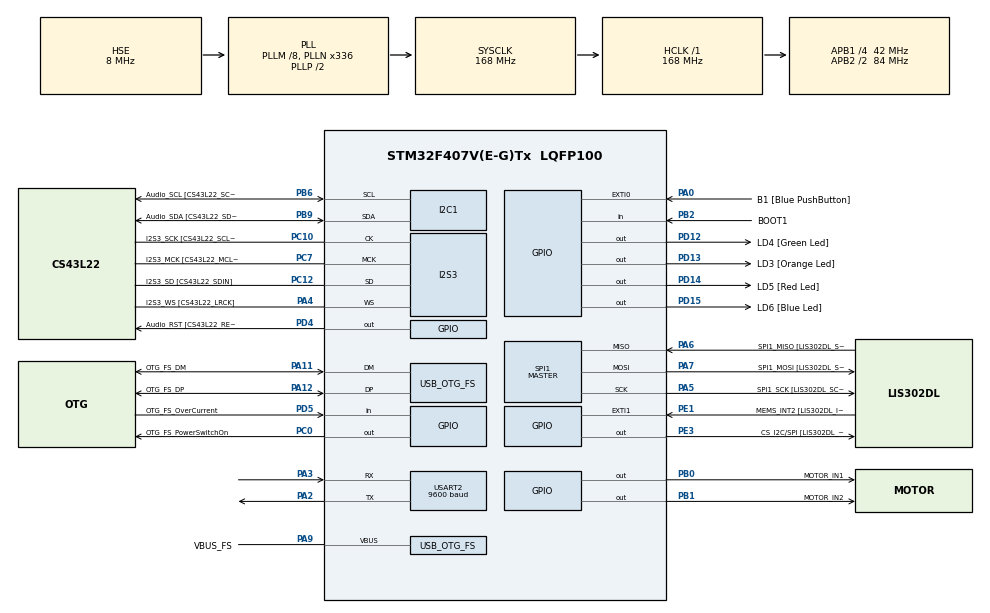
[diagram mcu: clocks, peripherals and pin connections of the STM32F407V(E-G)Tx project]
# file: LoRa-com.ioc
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I2S3.AudioFreq-Half_Duplex_Master=I2S_AUDIOFREQ_96K
I2S3.ErrorAudioFreq=-2.34 %
I2S3.ErrorAudioFreq-Half_Duplex_Master=0.8 %
I2S3.FullDuplexMode=I2S_FULLDUPLEXMODE_DISABLE
I2S3.Instance=SPI$Index
I2S3.RealAudioFreq=93.75 KHz
I2S3.RealAudioFreq-Half_Duplex_Master=96.774 KHz
I2S3.VirtualMode=I2S_MODE_MASTER
Mcu.Family=STM32F4
Mcu.Name=STM32F407V(E-G)Tx
Mcu.Package=LQFP100
NVIC.OTG_FS_IRQn=true\:0\:0\:false\:false\:true\:true\:true\:true
NVIC.PriorityGroup=NVIC_PRIORITYGROUP_0
NVIC.USART2_IRQn=true\:0\:0\:false\:false\:true\:true\:true\:true
PA0-WKUP.GPIO_Label=B1 [Blue PushButton]
PA0-WKUP.GPIO_ModeDefaultEXTI=GPIO_MODE_EVT_RISING
PA0-WKUP.GPIO_PuPd=GPIO_NOPULL
PA0-WKUP.Signal=GPXTI0
PA10.GPIO_Label=OTG_FS_ID
PA10.GPIO_Mode=GPIO_MODE_AF_PP
PA10.GPIO_PuPd=GPIO_NOPULL
PA10.GPIO_Speed=GPIO_SPEED_FREQ_LOW
PA10.Signal=USB_OTG_FS_ID
PA11.GPIO_Label=OTG_FS_DM
PA11.GPIO_Mode=GPIO_MODE_AF_PP
PA11.GPIO_PuPd=GPIO_NOPULL
PA11.GPIO_Speed=GPIO_SPEED_FREQ_LOW
PA11.Mode=Host_Only
PA11.Signal=USB_OTG_FS_DM
PA12.GPIO_Label=OTG_FS_DP
PA12.GPIO_Mode=GPIO_MODE_AF_PP
PA12.GPIO_PuPd=GPIO_NOPULL
PA12.GPIO_Speed=GPIO_SPEED_FREQ_LOW
PA12.Mode=Host_Only
PA12.Signal=USB_OTG_FS_DP
PA13.GPIO_Label=SWDIO
PA13.Mode=Serial_Wire
PA13.Signal=SYS_JTMS-SWDIO
PA14.GPIO_Label=SWCLK
PA14.Mode=Serial_Wire
PA14.Signal=SYS_JTCK-SWCLK
PA2.Mode=Asynchronous
PA2.Signal=USART2_TX
PA3.Mode=Asynchronous
PA3.Signal=USART2_RX
PA4.GPIO_Label=I2S3_WS [CS43L22_LRCK]
PA4.GPIO_Mode=GPIO_MODE_AF_PP
PA4.GPIO_PuPd=GPIO_NOPULL
PA4.GPIO_Speed=GPIO_SPEED_FREQ_LOW
PA4.Mode=Half_Duplex_Master
PA4.Signal=I2S3_WS
PA5.GPIO_Label=SPI1_SCK [LIS302DL_SCL/SPC]
PA5.GPIO_Mode=GPIO_MODE_AF_PP
PA5.GPIO_PuPd=GPIO_NOPULL
PA5.GPIO_Speed=GPIO_SPEED_FREQ_LOW
PA5.Mode=Full_Duplex_Master
PA5.Signal=SPI1_SCK
PA6.GPIO_Label=SPI1_MISO [LIS302DL_SDO]
PA6.GPIO_Mode=GPIO_MODE_AF_PP
PA6.GPIO_PuPd=GPIO_NOPULL
PA6.GPIO_Speed=GPIO_SPEED_FREQ_LOW
PA6.Mode=Full_Duplex_Master
PA6.Signal=SPI1_MISO
PA7.GPIO_Label=SPI1_MOSI [LIS302DL_SDA/SDI/SDO]
PA7.GPIO_Mode=GPIO_MODE_AF_PP
PA7.GPIO_PuPd=GPIO_NOPULL
PA7.GPIO_Speed=GPIO_SPEED_FREQ_LOW
PA7.Mode=Full_Duplex_Master
PA7.Signal=SPI1_MOSI
PA9.GPIO_Label=VBUS_FS
PA9.GPIO_Mode=GPIO_MODE_INPUT
PA9.GPIO_PuPd=GPIO_NOPULL
PA9.Mode=Activate_VBUS
PA9.Signal=USB_OTG_FS_VBUS
PB0.GPIO_Label=MOTOR_IN1
PB0.Signal=GPIO_Output
PB1.GPIO_Label=MOTOR_IN2
PB1.Signal=GPIO_Output
PB10.GPIO_Label=CLK_IN [MP45DT02_CLK]
PB10.GPIO_Mode=GPIO_MODE_AF_PP
PB10.GPIO_PuPd=GPIO_NOPULL
PB10.GPIO_Speed=GPIO_SPEED_FREQ_LOW
PB10.Signal=I2S2_CK
PB2.GPIO_Label=BOOT1
PB2.GPIO_Mode=GPIO_MODE_INPUT
PB2.GPIO_PuPd=GPIO_NOPULL
PB2.Signal=GPIO_Input
PB3.GPIO_Label=SWO
PB3.Signal=SYS_JTDO-SWO
PB6.GPIO_Label=Audio_SCL [CS43L22_SCL]
PB6.GPIO_Mode=GPIO_MODE_AF_OD
PB6.GPIO_Pu=GPIO_PULLUP
PB6.GPIO_PuPd=GPIO_NOPULL
PB6.GPIO_Speed=GPIO_SPEED_FREQ_LOW
PB6.Mode=I2C
PB6.Signal=I2C1_SCL
PB9.GPIO_Label=Audio_SDA [CS43L22_SDA]
PB9.GPIO_Mode=GPIO_MODE_AF_OD
PB9.GPIO_Pu=GPIO_PULLUP
PB9.GPIO_PuPd=GPIO_NOPULL
PB9.GPIO_Speed=GPIO_SPEED_FREQ_LOW
PB9.Mode=I2C
PB9.Signal=I2C1_SDA
PC0.GPIO_Label=OTG_FS_PowerSwitchOn
PC0.GPIO_PuPd=GPIO_NOPULL
PC0.GPIO_Speed=GPIO_SPEED_FREQ_LOW
PC0.PinState=GPIO_PIN_SET
PC0.Signal=GPIO_Output
PC10.GPIO_Label=I2S3_SCK [CS43L22_SCLK]
PC10.GPIO_Mode=GPIO_MODE_AF_PP
PC10.GPIO_PuPd=GPIO_NOPULL
PC10.GPIO_Speed=GPIO_SPEED_FREQ_LOW
PC10.Mode=Half_Duplex_Master
PC10.Signal=I2S3_CK
PC12.GPIO_Label=I2S3_SD [CS43L22_SDIN]
PC12.GPIO_Mode=GPIO_MODE_AF_PP
PC12.GPIO_PuPd=GPIO_NOPULL
PC12.GPIO_Speed=GPIO_SPEED_FREQ_LOW
PC12.Mode=Half_Duplex_Master
PC12.Signal=I2S3_SD
PC14-OSC32_IN.GPIO_Label=PC14-OSC32_IN
PC14-OSC32_IN.Mode=LSE-External-Oscillator
PC14-OSC32_IN.Signal=RCC_OSC32_IN
PC15-OSC32_OUT.GPIO_Label=PC15-OSC32_OUT
PC15-OSC32_OUT.Mode=LSE-External-Oscillator
PC15-OSC32_OUT.Signal=RCC_OSC32_OUT
PC3.GPIO_Label=PDM_OUT [MP45DT02_DOUT]
PC3.GPIO_Mode=GPIO_MODE_AF_PP
PC3.GPIO_PuPd=GPIO_NOPULL
PC3.GPIO_Speed=GPIO_SPEED_FREQ_LOW
PC3.Signal=I2S2_SD
PC7.GPIO_Label=I2S3_MCK [CS43L22_MCLK]
PC7.GPIO_Mode=GPIO_MODE_AF_PP
PC7.GPIO_PuPd=GPIO_NOPULL
PC7.GPIO_Speed=GPIO_SPEED_FREQ_LOW
PC7.Mode=Master_Clock_Activated
PC7.Signal=I2S3_MCK
PD12.GPIO_Label=LD4 [Green Led]
PD12.GPIO_PuPd=GPIO_NOPULL
PD12.GPIO_Speed=GPIO_SPEED_FREQ_LOW
PD12.Signal=GPIO_Output
PD13.GPIO_Label=LD3 [Orange Led]
PD13.GPIO_PuPd=GPIO_NOPULL
PD13.GPIO_Speed=GPIO_SPEED_FREQ_LOW
PD13.Signal=GPIO_Output
PD14.GPIO_Label=LD5 [Red Led]
PD14.GPIO_PuPd=GPIO_NOPULL
PD14.GPIO_Speed=GPIO_SPEED_FREQ_LOW
PD14.Signal=GPIO_Output
PD15.GPIO_Label=LD6 [Blue Led]
PD15.GPIO_PuPd=GPIO_NOPULL
PD15.GPIO_Speed=GPIO_SPEED_FREQ_LOW
PD15.Signal=GPIO_Output
PD4.GPIO_Label=Audio_RST [CS43L22_RESET]
PD4.GPIO_PuPd=GPIO_NOPULL
PD4.GPIO_Speed=GPIO_SPEED_FREQ_LOW
PD4.Signal=GPIO_Output
PD5.GPIO_Label=OTG_FS_OverCurrent
PD5.GPIO_Mode=GPIO_MODE_INPUT
PD5.GPIO_PuPd=GPIO_NOPULL
PD5.Signal=GPIO_Input
PE1.GPIO_Label=MEMS_INT2 [LIS302DL_INT2]
PE1.GPIO_ModeDefaultEXTI=GPIO_MODE_EVT_RISING
PE1.GPIO_PuPd=GPIO_NOPULL
PE1.Signal=GPXTI1
PE3.GPIO_Label=CS_I2C/SPI [LIS302DL_CS_I2C/SPI]
PE3.GPIO_PuPd=GPIO_NOPULL
PE3.GPIO_Speed=GPIO_SPEED_FREQ_LOW
PE3.Signal=GPIO_Output
PH0-OSC_IN.GPIO_Label=PH0-OSC_IN
PH0-OSC_IN.Mode=HSE-External-Oscillator
PH0-OSC_IN.Signal=RCC_OSC_IN
PH1-OSC_OUT.GPIO_Label=PH1-OSC_OUT
PH1-OSC_OUT.Mode=HSE-External-Oscillator
PH1-OSC_OUT.Signal=RCC_OSC_OUT
ProjectManager.HeapSize=0x200
ProjectManager.StackSize=0x400
ProjectManager.TargetToolchain=STM32CubeIDE
RCC.48MHZClocksFreq_Value=48000000
RCC.AHBFreq_Value=168000000
RCC.APB1CLKDivider=RCC_HCLK_DIV4
RCC.APB1Freq_Value=42000000
RCC.APB1TimFreq_Value=84000000
RCC.APB2CLKDivider=RCC_HCLK_DIV2
RCC.APB2Freq_Value=84000000
RCC.APB2TimFreq_Value=168000000
RCC.CortexFreq_Value=168000000
RCC.HCLKFreq_Value=168000000
RCC.HSE_VALUE=8000000
RCC.HSI_VALUE=16000000
RCC.PLLM=8
RCC.PLLN=336
RCC.PLLQ=7
RCC.SYSCLKFreq_VALUE=168000000
RCC.SYSCLKSource=RCC_SYSCLKSOURCE_PLLCLK
RCC.VCOOutputFreq_Value=336000000
SPI1.BaudRatePrescaler-Full_Duplex_Master=SPI_BAUDRATEPRESCALER_2
SPI1.CalculateBaudRate-Full_Duplex_Master=42.0 MBits/s
SPI1.Direction=SPI_DIRECTION_2LINES
SPI1.Mode=SPI_MODE_MASTER
SPI1.Mode-Full_Duplex_Master=SPI_MODE_MASTER
SPI1.VirtualType=VM_MASTER
USART2.BaudRate=9600
USART2.VirtualMode=VM_ASYNC
USB_HOST.BSP.number=1
USB_HOST.USBH_HandleTypeDef-CDC_FS=hUsbHostFS
USB_HOST.VirtualModeFS=Cdc
USB_HOST0.BSP.STBoard=false
USB_HOST0.BSP.api=Unknown
USB_HOST0.BSP.instance=PC0
USB_HOST0.BSP.ip=GPIO
USB_HOST0.BSP.mode=Output
USB_HOST0.BSP.name=Drive_VBUS_FS
USB_HOST0.BSP.solution=PC0
USB_OTG_FS.VirtualMode=Host_Only
USB_OTG_FS.phy_itface=HCD_PHY_EMBEDDED
VP_USB_HOST_VS_USB_HOST_CDC_FS.Mode=CDC_FS
board=STM32F407G-DISC1

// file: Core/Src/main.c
/* USER CODE BEGIN Header */
/**
  ******************************************************************************
  * @file           : main.c
  * @brief          : Main program body
  ******************************************************************************
  * @attention
  *
  * Copyright (c) 2026 STMicroelectronics.
  * All rights reserved.
  *
  * This software is licensed under terms that can be found in the LICENSE file
  * in the root directory of this software component.
  * If no LICENSE file comes with this software, it is provided AS-IS.
  *
  ******************************************************************************
  */
/* USER CODE END Header */
#include "main.h"
#include "usb_host.h"

/* USER CODE BEGIN Includes */

#include <stdio.h>
#include <string.h>

/* USER CODE END Includes */

I2C_HandleTypeDef hi2c1;

I2S_HandleTypeDef hi2s3;

SPI_HandleTypeDef hspi1;

UART_HandleTypeDef huart2;

/* USER CODE BEGIN PV */

uint8_t rx_byte;               // UART'tan gelen tek bayt
volatile char komut = 0;       // ana döngüye iletilen komut
enum { DURUYOR, ILERI, GERI } yon = DURUYOR;

/* USER CODE END PV */

void SystemClock_Config(void);
static void MX_GPIO_Init(void);
static void MX_I2C1_Init(void);
static void MX_I2S3_Init(void);
static void MX_SPI1_Init(void);
static void MX_USART2_UART_Init(void);
void MX_USB_HOST_Process(void);

/* USER CODE BEGIN 0 */

static void motor_ileri(void)
{
  HAL_GPIO_WritePin(MOTOR_IN1_GPIO_Port, MOTOR_IN1_Pin, GPIO_PIN_SET);
  HAL_GPIO_WritePin(MOTOR_IN2_GPIO_Port, MOTOR_IN2_Pin, GPIO_PIN_RESET);
}

static void motor_geri(void)
{
  HAL_GPIO_WritePin(MOTOR_IN1_GPIO_Port, MOTOR_IN1_Pin, GPIO_PIN_RESET);
  HAL_GPIO_WritePin(MOTOR_IN2_GPIO_Port, MOTOR_IN2_Pin, GPIO_PIN_SET);
}

static void motor_dur(void)
{
  HAL_GPIO_WritePin(MOTOR_IN1_GPIO_Port, MOTOR_IN1_Pin, GPIO_PIN_RESET);
  HAL_GPIO_WritePin(MOTOR_IN2_GPIO_Port, MOTOR_IN2_Pin, GPIO_PIN_RESET);
}

static void yanit(const char *s)
{
  HAL_UART_Transmit(&huart2, (uint8_t *)s, strlen(s), 100);
}

// Her bayt geldiğinde HAL burayı çağırır
void HAL_UART_RxCpltCallback(UART_HandleTypeDef *huart)
{
  if (huart->Instance == USART2)
  {
    komut = (char)rx_byte;
    HAL_UART_Receive_IT(&huart2, &rx_byte, 1);   // bir sonraki baytı bekle
  }
}

// UART hatası olursa (ör. taşma) almayı yeniden başlat
void HAL_UART_ErrorCallback(UART_HandleTypeDef *huart)
{
  if (huart->Instance == USART2)
  {
    HAL_UART_Receive_IT(&huart2, &rx_byte, 1);
  }
}

/* USER CODE END 0 */

int main(void)
{

  /* MCU Configuration--------------------------------------------------------*/

  /* Reset of all peripherals, Initializes the Flash interface and the Systick. */
  HAL_Init();

  /* Configure the system clock */
  SystemClock_Config();

  /* Initialize all configured peripherals */
  MX_GPIO_Init();
  MX_I2C1_Init();
  MX_I2S3_Init();
  MX_SPI1_Init();
  MX_USART2_UART_Init();
  MX_USB_HOST_Init();
  /* USER CODE BEGIN 2 */

  motor_dur();                                  // açılışta motor dursun
  HAL_Delay(500);                               // E32'nin açılışını bekle
  HAL_UART_Receive_IT(&huart2, &rx_byte, 1);    // almayı başlat
  yanit("HAZIR\r\n");

  /* USER CODE END 2 */

  /* Infinite loop */
  while (1)
  {
    MX_USB_HOST_Process();

    /* USER CODE BEGIN 3 */

    char k = komut;
        if (k != 0)
        {
          komut = 0;

          switch (k)
          {
            case 'F': case 'f':
              if (yon == GERI) { motor_dur(); HAL_Delay(200); }  // yön değişirken kısa dur
              motor_ileri();
              yon = ILERI;
              yanit("OK ILERI\r\n");
              break;

            case 'B': case 'b':
              if (yon == ILERI) { motor_dur(); HAL_Delay(200); }
              motor_geri();
              yon = GERI;
              yanit("OK GERI\r\n");
              break;

            case 'S': case 's':
              motor_dur();
              yon = DURUYOR;
              yanit("OK DUR\r\n");
              break;

            case '\r': case '\n':
              break;               // satır sonlarını yok say

            default:
              yanit("HATA: F, B veya S gonder\r\n");
              break;
          }
        }
  }
  /* USER CODE END 3 */
}

void SystemClock_Config(void)
{
  RCC_OscInitTypeDef RCC_OscInitStruct = {0};
  RCC_ClkInitTypeDef RCC_ClkInitStruct = {0};

  /** Configure the main internal regulator output voltage
  */
  __HAL_RCC_PWR_CLK_ENABLE();
  __HAL_PWR_VOLTAGESCALING_CONFIG(PWR_REGULATOR_VOLTAGE_SCALE1);

  /** Initializes the RCC Oscillators according to the specified parameters
  * in the RCC_OscInitTypeDef structure.
  */
  RCC_OscInitStruct.OscillatorType = RCC_OSCILLATORTYPE_HSE;
  RCC_OscInitStruct.HSEState = RCC_HSE_ON;
  RCC_OscInitStruct.PLL.PLLState = RCC_PLL_ON;
  RCC_OscInitStruct.PLL.PLLSource = RCC_PLLSOURCE_HSE;
  RCC_OscInitStruct.PLL.PLLM = 8;
  RCC_OscInitStruct.PLL.PLLN = 336;
  RCC_OscInitStruct.PLL.PLLP = RCC_PLLP_DIV2;
  RCC_OscInitStruct.PLL.PLLQ = 7;
  if (HAL_RCC_OscConfig(&RCC_OscInitStruct) != HAL_OK)
  {
    Error_Handler();
  }

  /** Initializes the CPU, AHB and APB buses clocks
  */
  RCC_ClkInitStruct.ClockType = RCC_CLOCKTYPE_HCLK|RCC_CLOCKTYPE_SYSCLK
                              |RCC_CLOCKTYPE_PCLK1|RCC_CLOCKTYPE_PCLK2;
  RCC_ClkInitStruct.SYSCLKSource = RCC_SYSCLKSOURCE_PLLCLK;
  RCC_ClkInitStruct.AHBCLKDivider = RCC_SYSCLK_DIV1;
  RCC_ClkInitStruct.APB1CLKDivider = RCC_HCLK_DIV4;
  RCC_ClkInitStruct.APB2CLKDivider = RCC_HCLK_DIV2;

  if (HAL_RCC_ClockConfig(&RCC_ClkInitStruct, FLASH_LATENCY_5) != HAL_OK)
  {
    Error_Handler();
  }
}

static void MX_I2C1_Init(void)
{

  hi2c1.Instance = I2C1;
  hi2c1.Init.ClockSpeed = 100000;
  hi2c1.Init.DutyCycle = I2C_DUTYCYCLE_2;
  hi2c1.Init.OwnAddress1 = 0;
  hi2c1.Init.AddressingMode = I2C_ADDRESSINGMODE_7BIT;
  hi2c1.Init.DualAddressMode = I2C_DUALADDRESS_DISABLE;
  hi2c1.Init.OwnAddress2 = 0;
  hi2c1.Init.GeneralCallMode = I2C_GENERALCALL_DISABLE;
  hi2c1.Init.NoStretchMode = I2C_NOSTRETCH_DISABLE;
  if (HAL_I2C_Init(&hi2c1) != HAL_OK)
  {
    Error_Handler();
  }

}

static void MX_I2S3_Init(void)
{

  hi2s3.Instance = SPI3;
  hi2s3.Init.Mode = I2S_MODE_MASTER_TX;
  hi2s3.Init.Standard = I2S_STANDARD_PHILIPS;
  hi2s3.Init.DataFormat = I2S_DATAFORMAT_16B;
  hi2s3.Init.MCLKOutput = I2S_MCLKOUTPUT_ENABLE;
  hi2s3.Init.AudioFreq = I2S_AUDIOFREQ_96K;
  hi2s3.Init.CPOL = I2S_CPOL_LOW;
  hi2s3.Init.ClockSource = I2S_CLOCK_PLL;
  hi2s3.Init.FullDuplexMode = I2S_FULLDUPLEXMODE_DISABLE;
  if (HAL_I2S_Init(&hi2s3) != HAL_OK)
  {
    Error_Handler();
  }

}

static void MX_SPI1_Init(void)
{

  /* SPI1 parameter configuration*/
  hspi1.Instance = SPI1;
  hspi1.Init.Mode = SPI_MODE_MASTER;
  hspi1.Init.Direction = SPI_DIRECTION_2LINES;
  hspi1.Init.DataSize = SPI_DATASIZE_8BIT;
  hspi1.Init.CLKPolarity = SPI_POLARITY_LOW;
  hspi1.Init.CLKPhase = SPI_PHASE_1EDGE;
  hspi1.Init.NSS = SPI_NSS_SOFT;
  hspi1.Init.BaudRatePrescaler = SPI_BAUDRATEPRESCALER_2;
  hspi1.Init.FirstBit = SPI_FIRSTBIT_MSB;
  hspi1.Init.TIMode = SPI_TIMODE_DISABLE;
  hspi1.Init.CRCCalculation = SPI_CRCCALCULATION_DISABLE;
  hspi1.Init.CRCPolynomial = 10;
  if (HAL_SPI_Init(&hspi1) != HAL_OK)
  {
    Error_Handler();
  }

}

static void MX_USART2_UART_Init(void)
{

  huart2.Instance = USART2;
  huart2.Init.BaudRate = 9600;
  huart2.Init.WordLength = UART_WORDLENGTH_8B;
  huart2.Init.StopBits = UART_STOPBITS_1;
  huart2.Init.Parity = UART_PARITY_NONE;
  huart2.Init.Mode = UART_MODE_TX_RX;
  huart2.Init.HwFlowCtl = UART_HWCONTROL_NONE;
  huart2.Init.OverSampling = UART_OVERSAMPLING_16;
  if (HAL_UART_Init(&huart2) != HAL_OK)
  {
    Error_Handler();
  }

}

static void MX_GPIO_Init(void)
{
  GPIO_InitTypeDef GPIO_InitStruct = {0};

  /* GPIO Ports Clock Enable */
  __HAL_RCC_GPIOE_CLK_ENABLE();
  __HAL_RCC_GPIOC_CLK_ENABLE();
  __HAL_RCC_GPIOH_CLK_ENABLE();
  __HAL_RCC_GPIOA_CLK_ENABLE();
  __HAL_RCC_GPIOB_CLK_ENABLE();
  __HAL_RCC_GPIOD_CLK_ENABLE();

  /*Configure GPIO pin Output Level */
  HAL_GPIO_WritePin(CS_I2C_SPI_GPIO_Port, CS_I2C_SPI_Pin, GPIO_PIN_RESET);

  /*Configure GPIO pin Output Level */
  HAL_GPIO_WritePin(OTG_FS_PowerSwitchOn_GPIO_Port, OTG_FS_PowerSwitchOn_Pin, GPIO_PIN_SET);

  /*Configure GPIO pin Output Level */
  HAL_GPIO_WritePin(GPIOB, MOTOR_IN1_Pin|MOTOR_IN2_Pin, GPIO_PIN_RESET);

  /*Configure GPIO pin Output Level */
  HAL_GPIO_WritePin(GPIOD, LD4_Pin|LD3_Pin|LD5_Pin|LD6_Pin
                          |Audio_RST_Pin, GPIO_PIN_RESET);

  /*Configure GPIO pin : CS_I2C_SPI_Pin */
  GPIO_InitStruct.Pin = CS_I2C_SPI_Pin;
  GPIO_InitStruct.Mode = GPIO_MODE_OUTPUT_PP;
  GPIO_InitStruct.Pull = GPIO_NOPULL;
  GPIO_InitStruct.Speed = GPIO_SPEED_FREQ_LOW;
  HAL_GPIO_Init(CS_I2C_SPI_GPIO_Port, &GPIO_InitStruct);

  /*Configure GPIO pin : OTG_FS_PowerSwitchOn_Pin */
  GPIO_InitStruct.Pin = OTG_FS_PowerSwitchOn_Pin;
  GPIO_InitStruct.Mode = GPIO_MODE_OUTPUT_PP;
  GPIO_InitStruct.Pull = GPIO_NOPULL;
  GPIO_InitStruct.Speed = GPIO_SPEED_FREQ_LOW;
  HAL_GPIO_Init(OTG_FS_PowerSwitchOn_GPIO_Port, &GPIO_InitStruct);

  /*Configure GPIO pin : PDM_OUT_Pin */
  GPIO_InitStruct.Pin = PDM_OUT_Pin;
  GPIO_InitStruct.Mode = GPIO_MODE_AF_PP;
  GPIO_InitStruct.Pull = GPIO_NOPULL;
  GPIO_InitStruct.Speed = GPIO_SPEED_FREQ_LOW;
  GPIO_InitStruct.Alternate = GPIO_AF5_SPI2;
  HAL_GPIO_Init(PDM_OUT_GPIO_Port, &GPIO_InitStruct);

  /*Configure GPIO pin : B1_Pin */
  GPIO_InitStruct.Pin = B1_Pin;
  GPIO_InitStruct.Mode = GPIO_MODE_EVT_RISING;
  GPIO_InitStruct.Pull = GPIO_NOPULL;
  HAL_GPIO_Init(B1_GPIO_Port, &GPIO_InitStruct);

  /*Configure GPIO pins : MOTOR_IN1_Pin MOTOR_IN2_Pin */
  GPIO_InitStruct.Pin = MOTOR_IN1_Pin|MOTOR_IN2_Pin;
  GPIO_InitStruct.Mode = GPIO_MODE_OUTPUT_PP;
  GPIO_InitStruct.Pull = GPIO_NOPULL;
  GPIO_InitStruct.Speed = GPIO_SPEED_FREQ_LOW;
  HAL_GPIO_Init(GPIOB, &GPIO_InitStruct);

  /*Configure GPIO pin : BOOT1_Pin */
  GPIO_InitStruct.Pin = BOOT1_Pin;
  GPIO_InitStruct.Mode = GPIO_MODE_INPUT;
  GPIO_InitStruct.Pull = GPIO_NOPULL;
  HAL_GPIO_Init(BOOT1_GPIO_Port, &GPIO_InitStruct);

  /*Configure GPIO pin : CLK_IN_Pin */
  GPIO_InitStruct.Pin = CLK_IN_Pin;
  GPIO_InitStruct.Mode = GPIO_MODE_AF_PP;
  GPIO_InitStruct.Pull = GPIO_NOPULL;
  GPIO_InitStruct.Speed = GPIO_SPEED_FREQ_LOW;
  GPIO_InitStruct.Alternate = GPIO_AF5_SPI2;
  HAL_GPIO_Init(CLK_IN_GPIO_Port, &GPIO_InitStruct);

  /*Configure GPIO pins : LD4_Pin LD3_Pin LD5_Pin LD6_Pin
                           Audio_RST_Pin */
  GPIO_InitStruct.Pin = LD4_Pin|LD3_Pin|LD5_Pin|LD6_Pin
                          |Audio_RST_Pin;
  GPIO_InitStruct.Mode = GPIO_MODE_OUTPUT_PP;
  GPIO_InitStruct.Pull = GPIO_NOPULL;
  GPIO_InitStruct.Speed = GPIO_SPEED_FREQ_LOW;
  HAL_GPIO_Init(GPIOD, &GPIO_InitStruct);

  /*Configure GPIO pin : OTG_FS_OverCurrent_Pin */
  GPIO_InitStruct.Pin = OTG_FS_OverCurrent_Pin;
  GPIO_InitStruct.Mode = GPIO_MODE_INPUT;
  GPIO_InitStruct.Pull = GPIO_NOPULL;
  HAL_GPIO_Init(OTG_FS_OverCurrent_GPIO_Port, &GPIO_InitStruct);

  /*Configure GPIO pin : MEMS_INT2_Pin */
  GPIO_InitStruct.Pin = MEMS_INT2_Pin;
  GPIO_InitStruct.Mode = GPIO_MODE_EVT_RISING;
  GPIO_InitStruct.Pull = GPIO_NOPULL;
  HAL_GPIO_Init(MEMS_INT2_GPIO_Port, &GPIO_InitStruct);

}

void Error_Handler(void)
{
  __disable_irq();
  while (1)
  {
  }
}
